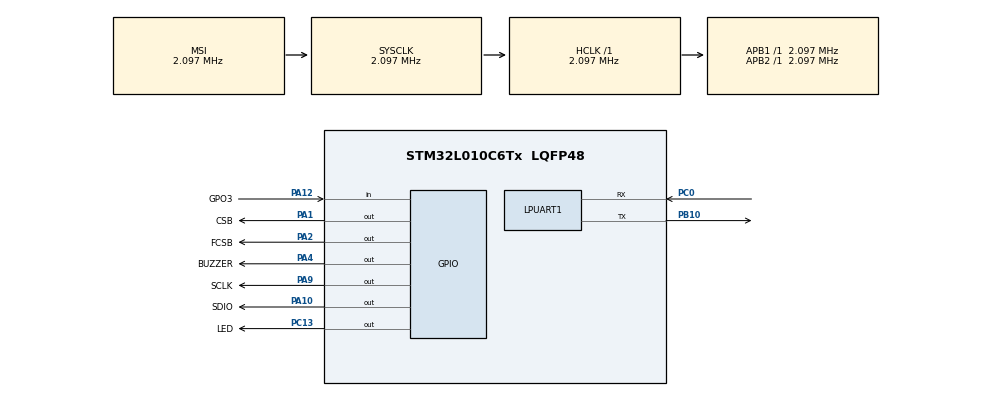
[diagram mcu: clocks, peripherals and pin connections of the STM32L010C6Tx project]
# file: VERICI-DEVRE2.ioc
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Mcu.Family=STM32L0
Mcu.Name=STM32L010C6Tx
Mcu.Package=LQFP48
PA1.GPIO_Label=CSB
PA1.Signal=GPIO_Output
PA10.GPIO_Label=SDIO
PA10.Signal=GPIO_Output
PA12.GPIO_Label=GPO3
PA12.Signal=GPIO_Input
PA13.Mode=Serial_Wire
PA13.Signal=SYS_SWDIO
PA14.Mode=Serial_Wire
PA14.Signal=SYS_SWCLK
PA2.GPIO_Label=FCSB
PA2.Signal=GPIO_Output
PA4.GPIO_Label=BUZZER
PA4.Signal=GPIO_Output
PA9.GPIO_Label=SCLK
PA9.Signal=GPIO_Output
PB10.Mode=Asynchronous
PB10.Signal=LPUART1_TX
PC0.Mode=Asynchronous
PC0.Signal=LPUART1_RX
PC13-ANTI_TAMP.GPIO_Label=LED
PC13-ANTI_TAMP.Signal=GPIO_Output
PH0-OSC_IN.Mode=HSE-External-Oscillator
PH0-OSC_IN.Signal=RCC_OSC_IN
PH1-OSC_OUT.Mode=HSE-External-Oscillator
PH1-OSC_OUT.Signal=RCC_OSC_OUT
ProjectManager.HeapSize=0x200
ProjectManager.StackSize=0x400
ProjectManager.TargetToolchain=STM32CubeIDE
RCC.AHBFreq_Value=2097000
RCC.APB1Freq_Value=2097000
RCC.APB1TimFreq_Value=2097000
RCC.APB2Freq_Value=2097000
RCC.APB2TimFreq_Value=2097000
RCC.HSE_VALUE=8000000
RCC.HSI16_VALUE=16000000
RCC.HSI_VALUE=16000000
RCC.LSE_VALUE=32768
RCC.MSI_VALUE=2097000
RCC.SYSCLKFreq_VALUE=2097000
RCC.VCOOutputFreq_Value=48000000
TIM2.Prescaler=36-1
VP_TIM2_VS_ClockSourceINT.Mode=Internal
board=custom

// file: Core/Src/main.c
/* USER CODE BEGIN Header */
/**
  ******************************************************************************
  * @file           : main.c
  * @brief          : Main program body
  ******************************************************************************
  * @attention
  *
  * <h2><center>&copy; Copyright (c) 2021 STMicroelectronics.
  * All rights reserved.</center></h2>
  *
  * This software component is licensed by ST under BSD 3-Clause license,
  * the "License"; You may not use this file except in compliance with the
  * License. You may obtain a copy of the License at:
  *                        opensource.org/licenses/BSD-3-Clause
  *
  ******************************************************************************
  */
/* USER CODE END Header */
#include "main.h"

/* USER CODE BEGIN Includes */
#include "RFM300_Driver.h"
#include "rf_conf.h"
/* USER CODE END Includes */

UART_HandleTypeDef hlpuart1;

TIM_HandleTypeDef htim2;

void SystemClock_Config(void);
static void MX_GPIO_Init(void);
static void MX_LPUART1_UART_Init(void);
static void MX_TIM2_Init(void);

int main(void)
{

  /* MCU Configuration--------------------------------------------------------*/

  /* Reset of all peripherals, Initializes the Flash interface and the Systick. */
  HAL_Init();

  /* Configure the system clock */
  SystemClock_Config();

  /* Initialize all configured peripherals */
  MX_GPIO_Init();
  MX_LPUART1_UART_Init();
  MX_TIM2_Init();
  /* USER CODE BEGIN 2 */
  HAL_UART_Transmit(&hlpuart1, (uint8_t *)"Basladi\r\n", 9, 100);
  #define TX_NUM  21
#define TX_NUM2  2

  byte tx_buf[32] = {'H','o','p','e','R','F',' ','R','F','M',' ','C','O','B','R','F','M','3','0','0','A'};
  byte tx_buf2[32] = {'a','a'};

  FixedPktLength    = false;

  PayloadLength     = 21;
  vInit();
  vCfgBank(CMTBank, 12);
  vCfgBank(SystemBank, 12);
  vCfgBank(FrequencyBank, 8);
  vCfgBank(DataRateBank, 24);
  vCfgBank(BasebandBank, 29);
  vCfgBank(TXBank, 11);
  vEnableAntSwitch(0);
  vGpioFuncCfg(GPIO1_DCLK+GPIO2_DCLK+GPIO3_INT2);   //GPIO Maping

  vIntSrcCfg(INT_FIFO_NMTY_TX, INT_TX_DONE);    //IRQ maping
  vIntSrcEnable(TX_DONE_EN);
  vClearFIFO();
  bGoSleep();
  HAL_UART_Transmit(&hlpuart1, (uint8_t *)"Tx...\r\n", 7, 100);

  /* USER CODE END 2 */

  /* Infinite loop */
  while (1)
  {

    /* USER CODE BEGIN 3 */
	  static int tx_cnt=0;

	  bSendMessage(tx_buf2, TX_NUM2);
	  while(GPO3_L());
	 bIntSrcFlagClr();
	 vClearFIFO();
	  bGoSleep();
	  HAL_UART_Transmit( &hlpuart1, (uint8_t *)"TX......\r\n",12, 100);
	  HAL_Delay(1000);

  }
  /* USER CODE END 3 */
}

void SystemClock_Config(void)
{
  RCC_OscInitTypeDef RCC_OscInitStruct = {0};
  RCC_ClkInitTypeDef RCC_ClkInitStruct = {0};
  RCC_PeriphCLKInitTypeDef PeriphClkInit = {0};

  /** Configure the main internal regulator output voltage
  */
  __HAL_PWR_VOLTAGESCALING_CONFIG(PWR_REGULATOR_VOLTAGE_SCALE1);
  /** Initializes the RCC Oscillators according to the specified parameters
  * in the RCC_OscInitTypeDef structure.
  */
  RCC_OscInitStruct.OscillatorType = RCC_OSCILLATORTYPE_MSI;
  RCC_OscInitStruct.MSIState = RCC_MSI_ON;
  RCC_OscInitStruct.MSICalibrationValue = 0;
  RCC_OscInitStruct.MSIClockRange = RCC_MSIRANGE_5;
  RCC_OscInitStruct.PLL.PLLState = RCC_PLL_NONE;
  if (HAL_RCC_OscConfig(&RCC_OscInitStruct) != HAL_OK)
  {
    Error_Handler();
  }
  /** Initializes the CPU, AHB and APB buses clocks
  */
  RCC_ClkInitStruct.ClockType = RCC_CLOCKTYPE_HCLK|RCC_CLOCKTYPE_SYSCLK
                              |RCC_CLOCKTYPE_PCLK1|RCC_CLOCKTYPE_PCLK2;
  RCC_ClkInitStruct.SYSCLKSource = RCC_SYSCLKSOURCE_MSI;
  RCC_ClkInitStruct.AHBCLKDivider = RCC_SYSCLK_DIV1;
  RCC_ClkInitStruct.APB1CLKDivider = RCC_HCLK_DIV1;
  RCC_ClkInitStruct.APB2CLKDivider = RCC_HCLK_DIV1;

  if (HAL_RCC_ClockConfig(&RCC_ClkInitStruct, FLASH_LATENCY_0) != HAL_OK)
  {
    Error_Handler();
  }
  PeriphClkInit.PeriphClockSelection = RCC_PERIPHCLK_LPUART1;
  PeriphClkInit.Lpuart1ClockSelection = RCC_LPUART1CLKSOURCE_PCLK1;
  if (HAL_RCCEx_PeriphCLKConfig(&PeriphClkInit) != HAL_OK)
  {
    Error_Handler();
  }
}

static void MX_LPUART1_UART_Init(void)
{

  hlpuart1.Instance = LPUART1;
  hlpuart1.Init.BaudRate = 115200;
  hlpuart1.Init.WordLength = UART_WORDLENGTH_8B;
  hlpuart1.Init.StopBits = UART_STOPBITS_1;
  hlpuart1.Init.Parity = UART_PARITY_NONE;
  hlpuart1.Init.Mode = UART_MODE_TX_RX;
  hlpuart1.Init.HwFlowCtl = UART_HWCONTROL_NONE;
  hlpuart1.Init.OneBitSampling = UART_ONE_BIT_SAMPLE_DISABLE;
  hlpuart1.AdvancedInit.AdvFeatureInit = UART_ADVFEATURE_NO_INIT;
  if (HAL_UART_Init(&hlpuart1) != HAL_OK)
  {
    Error_Handler();
  }

}

static void MX_TIM2_Init(void)
{

  TIM_ClockConfigTypeDef sClockSourceConfig = {0};
  TIM_MasterConfigTypeDef sMasterConfig = {0};

  htim2.Instance = TIM2;
  htim2.Init.Prescaler = 36-1;
  htim2.Init.CounterMode = TIM_COUNTERMODE_UP;
  htim2.Init.Period = 65535;
  htim2.Init.ClockDivision = TIM_CLOCKDIVISION_DIV1;
  htim2.Init.AutoReloadPreload = TIM_AUTORELOAD_PRELOAD_DISABLE;
  if (HAL_TIM_Base_Init(&htim2) != HAL_OK)
  {
    Error_Handler();
  }
  sClockSourceConfig.ClockSource = TIM_CLOCKSOURCE_INTERNAL;
  if (HAL_TIM_ConfigClockSource(&htim2, &sClockSourceConfig) != HAL_OK)
  {
    Error_Handler();
  }
  sMasterConfig.MasterOutputTrigger = TIM_TRGO_RESET;
  sMasterConfig.MasterSlaveMode = TIM_MASTERSLAVEMODE_DISABLE;
  if (HAL_TIMEx_MasterConfigSynchronization(&htim2, &sMasterConfig) != HAL_OK)
  {
    Error_Handler();
  }

}

static void MX_GPIO_Init(void)
{
  GPIO_InitTypeDef GPIO_InitStruct = {0};

  /* GPIO Ports Clock Enable */
  __HAL_RCC_GPIOC_CLK_ENABLE();
  __HAL_RCC_GPIOH_CLK_ENABLE();
  __HAL_RCC_GPIOA_CLK_ENABLE();
  __HAL_RCC_GPIOB_CLK_ENABLE();

  /*Configure GPIO pin Output Level */
  HAL_GPIO_WritePin(LED_GPIO_Port, LED_Pin, GPIO_PIN_RESET);

  /*Configure GPIO pin Output Level */
  HAL_GPIO_WritePin(GPIOA, CSB_Pin|FCSB_Pin|BUZZER_Pin|SCLK_Pin
                          |SDIO_Pin, GPIO_PIN_RESET);

  /*Configure GPIO pin : LED_Pin */
  GPIO_InitStruct.Pin = LED_Pin;
  GPIO_InitStruct.Mode = GPIO_MODE_OUTPUT_PP;
  GPIO_InitStruct.Pull = GPIO_NOPULL;
  GPIO_InitStruct.Speed = GPIO_SPEED_FREQ_LOW;
  HAL_GPIO_Init(LED_GPIO_Port, &GPIO_InitStruct);

  /*Configure GPIO pins : CSB_Pin FCSB_Pin BUZZER_Pin SCLK_Pin
                           SDIO_Pin */
  GPIO_InitStruct.Pin = CSB_Pin|FCSB_Pin|BUZZER_Pin|SCLK_Pin
                          |SDIO_Pin;
  GPIO_InitStruct.Mode = GPIO_MODE_OUTPUT_PP;
  GPIO_InitStruct.Pull = GPIO_NOPULL;
  GPIO_InitStruct.Speed = GPIO_SPEED_FREQ_LOW;
  HAL_GPIO_Init(GPIOA, &GPIO_InitStruct);

  /*Configure GPIO pin : GPO3_Pin */
  GPIO_InitStruct.Pin = GPO3_Pin;
  GPIO_InitStruct.Mode = GPIO_MODE_INPUT;
  GPIO_InitStruct.Pull = GPIO_NOPULL;
  HAL_GPIO_Init(GPO3_GPIO_Port, &GPIO_InitStruct);

}

void Error_Handler(void)
{
  __disable_irq();
  while (1)
  {
  }
}

/************************ (C) COPYRIGHT STMicroelectronics *****END OF FILE****/
